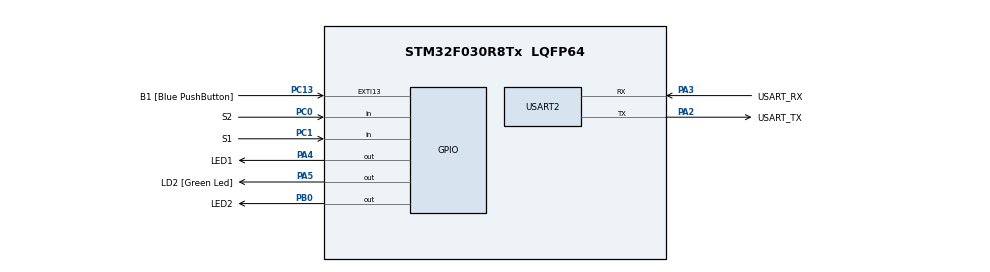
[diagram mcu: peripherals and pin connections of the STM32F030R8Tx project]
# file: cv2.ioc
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Mcu.Family=STM32F0
Mcu.Name=STM32F030R8Tx
Mcu.Package=LQFP64
PA13.GPIO_Label=TMS
PA13.Mode=Serial_Wire
PA13.Signal=SYS_SWDIO
PA14.GPIO_Label=TCK
PA14.Mode=Serial_Wire
PA14.Signal=SYS_SWCLK
PA2.GPIO_Label=USART_TX
PA2.GPIO_Mode=GPIO_MODE_AF_PP
PA2.GPIO_PuPd=GPIO_NOPULL
PA2.GPIO_Speed=GPIO_SPEED_FREQ_LOW
PA2.Mode=Asynchronous
PA2.Signal=USART2_TX
PA3.GPIO_Label=USART_RX
PA3.GPIO_Mode=GPIO_MODE_AF_PP
PA3.GPIO_PuPd=GPIO_NOPULL
PA3.GPIO_Speed=GPIO_SPEED_FREQ_LOW
PA3.Mode=Asynchronous
PA3.Signal=USART2_RX
PA4.GPIO_Label=LED1
PA4.Signal=GPIO_Output
PA5.GPIO_Label=LD2 [Green Led]
PA5.GPIO_Mode=GPIO_MODE_OUTPUT_PP
PA5.GPIO_PuPd=GPIO_NOPULL
PA5.GPIO_Speed=GPIO_SPEED_FREQ_LOW
PA5.Signal=GPIO_Output
PB0.GPIO_Label=LED2
PB0.Signal=GPIO_Output
PC0.GPIO_Label=S2
PC0.GPIO_PuPd=GPIO_PULLUP
PC0.Signal=GPIO_Input
PC1.GPIO_Label=S1
PC1.GPIO_PuPd=GPIO_PULLUP
PC1.Signal=GPIO_Input
PC13.GPIO_Label=B1 [Blue PushButton]
PC13.GPIO_ModeDefaultEXTI=GPIO_MODE_IT_FALLING
PC13.Signal=GPXTI13
PC14-OSC32_IN.Mode=LSE-External-Oscillator
PC14-OSC32_IN.Signal=RCC_OSC32_IN
PC15-OSC32_OUT.Mode=LSE-External-Oscillator
PC15-OSC32_OUT.Signal=RCC_OSC32_OUT
PF0-OSC_IN.Mode=HSE-External-Clock-Source
PF0-OSC_IN.Signal=RCC_OSC_IN
PF1-OSC_OUT.Signal=RCC_OSC_OUT
ProjectManager.HeapSize=0x200
ProjectManager.StackSize=0x400
ProjectManager.TargetToolchain=STM32CubeIDE
RCC.AHBFreq_Value=48000000
RCC.APB1Freq_Value=48000000
RCC.APB1TimFreq_Value=48000000
RCC.HCLKFreq_Value=48000000
RCC.PLLMUL=RCC_PLL_MUL12
RCC.SYSCLKFreq_VALUE=48000000
RCC.SYSCLKSource=RCC_SYSCLKSOURCE_PLLCLK
USART2.VirtualMode-Asynchronous=VM_ASYNC
board=NUCLEO-F030R8

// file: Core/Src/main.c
/* USER CODE BEGIN Header */
/**
  ******************************************************************************
  * @file           : main.c
  * @brief          : Main program body
  ******************************************************************************
  * @attention
  *
  * Copyright (c) 2025 STMicroelectronics.
  * All rights reserved.
  *
  * This software is licensed under terms that can be found in the LICENSE file
  * in the root directory of this software component.
  * If no LICENSE file comes with this software, it is provided AS-IS.
  *
  ******************************************************************************
  */
/* USER CODE END Header */
#include "main.h"

/* USER CODE BEGIN PD */
#define LED_TIME_BLINK  300
#define LED_TIME_SHORT 100
#define LED_TIME_LONG 1000
#define BUTTON_TIME 40
#define S1_SAMPLE_TIME 5
/* USER CODE END PD */

/* USER CODE BEGIN PV */
volatile uint32_t Tick;
static uint32_t off_time;

/* USER CODE END PV */

void SystemClock_Config(void);
static void MX_GPIO_Init(void);
static void MX_USART2_UART_Init(void);

/* USER CODE BEGIN 0 */
void blink(void)
{
	static uint32_t delay;

	if (Tick > delay + LED_TIME_BLINK) {
		LL_GPIO_TogglePin(LED1_GPIO_Port, LED1_Pin);
		delay = Tick;
	}
}

void button1(void) {
	static uint32_t last_button_tick;

	// Sampling button
	if (Tick > last_button_tick + BUTTON_TIME) {
		last_button_tick = Tick;

		// Enter every 40ms
		static uint32_t old_s1;
		uint32_t new_s1 = LL_GPIO_IsInputPinSet(S1_GPIO_Port, S1_Pin);

		if (old_s1 && !new_s1) { // falling edge
			off_time = Tick + LED_TIME_LONG;
			LL_GPIO_SetOutputPin(LED2_GPIO_Port, LED2_Pin);
		}
		old_s1 = new_s1;
	}

	// LED disable
	if (Tick > off_time) {
		LL_GPIO_ResetOutputPin(LED2_GPIO_Port, LED2_Pin);
	}
}

void button2(void) {
	static uint32_t last_button_tick;

	// Sampling button
	if (Tick > last_button_tick + BUTTON_TIME) {
		last_button_tick = Tick;

		// Enter every 40ms
		static uint32_t old_s2;
		uint32_t new_s2 = LL_GPIO_IsInputPinSet(S2_GPIO_Port, S2_Pin);

		if (old_s2 && !new_s2) { // falling edge
			off_time = Tick + LED_TIME_SHORT;
			LL_GPIO_SetOutputPin(LED2_GPIO_Port, LED2_Pin);
		}
		old_s2 = new_s2;
	}

	// LED disable
	if (Tick > off_time) {
		LL_GPIO_ResetOutputPin(LED2_GPIO_Port, LED2_Pin);

	}
}

void button2_reg(void) {
	static uint32_t last_button_tick;

	if (Tick > last_button_tick + S1_SAMPLE_TIME) {
		last_button_tick = Tick;
		static uint16_t debounce = 0xFFFF;

		uint32_t read_s1 = LL_GPIO_IsInputPinSet(S1_GPIO_Port, S1_Pin);

		debounce = debounce << 1;
		if (read_s1) debounce |= 0x0001;

		if (debounce == 0x8000) {
			off_time = Tick + LED_TIME_LONG;
			LL_GPIO_SetOutputPin(LED2_GPIO_Port, LED2_Pin);
		}

		if (Tick > off_time) {
			LL_GPIO_ResetOutputPin(LED2_GPIO_Port, LED2_Pin);
		}
	}

}

/* USER CODE END 0 */

int main(void)
{

  /* MCU Configuration--------------------------------------------------------*/

  /* Reset of all peripherals, Initializes the Flash interface and the Systick. */
  LL_APB1_GRP2_EnableClock(LL_APB1_GRP2_PERIPH_SYSCFG);
  LL_APB1_GRP1_EnableClock(LL_APB1_GRP1_PERIPH_PWR);

  /* Configure the system clock */
  SystemClock_Config();

  /* Initialize all configured peripherals */
  MX_GPIO_Init();
  MX_USART2_UART_Init();
  /* USER CODE BEGIN 2 */
  LL_SYSTICK_EnableIT();
  /* USER CODE END 2 */

  /* Infinite loop */
  while (1)
  {
	  blink();
	  button1();
	  button2();
	  button2_reg();
  }
}

void SystemClock_Config(void)
{
  LL_FLASH_SetLatency(LL_FLASH_LATENCY_1);
  while(LL_FLASH_GetLatency() != LL_FLASH_LATENCY_1)
  {
  }
  LL_RCC_HSI_Enable();

   /* Wait till HSI is ready */
  while(LL_RCC_HSI_IsReady() != 1)
  {

  }
  LL_RCC_HSI_SetCalibTrimming(16);
  LL_RCC_PLL_ConfigDomain_SYS(LL_RCC_PLLSOURCE_HSI_DIV_2, LL_RCC_PLL_MUL_12);
  LL_RCC_PLL_Enable();

   /* Wait till PLL is ready */
  while(LL_RCC_PLL_IsReady() != 1)
  {

  }
  LL_RCC_SetAHBPrescaler(LL_RCC_SYSCLK_DIV_1);
  LL_RCC_SetAPB1Prescaler(LL_RCC_APB1_DIV_1);
  LL_RCC_SetSysClkSource(LL_RCC_SYS_CLKSOURCE_PLL);

   /* Wait till System clock is ready */
  while(LL_RCC_GetSysClkSource() != LL_RCC_SYS_CLKSOURCE_STATUS_PLL)
  {

  }
  LL_Init1msTick(48000000);
  LL_SetSystemCoreClock(48000000);
}

static void MX_USART2_UART_Init(void)
{

  LL_USART_InitTypeDef USART_InitStruct = {0};

  LL_GPIO_InitTypeDef GPIO_InitStruct = {0};

  /* Peripheral clock enable */
  LL_APB1_GRP1_EnableClock(LL_APB1_GRP1_PERIPH_USART2);

  LL_AHB1_GRP1_EnableClock(LL_AHB1_GRP1_PERIPH_GPIOA);
  /**USART2 GPIO Configuration
  PA2   ------> USART2_TX
  PA3   ------> USART2_RX
  */
  GPIO_InitStruct.Pin = USART_TX_Pin;
  GPIO_InitStruct.Mode = LL_GPIO_MODE_ALTERNATE;
  GPIO_InitStruct.Speed = LL_GPIO_SPEED_FREQ_LOW;
  GPIO_InitStruct.OutputType = LL_GPIO_OUTPUT_PUSHPULL;
  GPIO_InitStruct.Pull = LL_GPIO_PULL_NO;
  GPIO_InitStruct.Alternate = LL_GPIO_AF_1;
  LL_GPIO_Init(USART_TX_GPIO_Port, &GPIO_InitStruct);

  GPIO_InitStruct.Pin = USART_RX_Pin;
  GPIO_InitStruct.Mode = LL_GPIO_MODE_ALTERNATE;
  GPIO_InitStruct.Speed = LL_GPIO_SPEED_FREQ_LOW;
  GPIO_InitStruct.OutputType = LL_GPIO_OUTPUT_PUSHPULL;
  GPIO_InitStruct.Pull = LL_GPIO_PULL_NO;
  GPIO_InitStruct.Alternate = LL_GPIO_AF_1;
  LL_GPIO_Init(USART_RX_GPIO_Port, &GPIO_InitStruct);

  USART_InitStruct.BaudRate = 38400;
  USART_InitStruct.DataWidth = LL_USART_DATAWIDTH_8B;
  USART_InitStruct.StopBits = LL_USART_STOPBITS_1;
  USART_InitStruct.Parity = LL_USART_PARITY_NONE;
  USART_InitStruct.TransferDirection = LL_USART_DIRECTION_TX_RX;
  USART_InitStruct.HardwareFlowControl = LL_USART_HWCONTROL_NONE;
  USART_InitStruct.OverSampling = LL_USART_OVERSAMPLING_16;
  LL_USART_Init(USART2, &USART_InitStruct);
  LL_USART_DisableIT_CTS(USART2);
  LL_USART_ConfigAsyncMode(USART2);
  LL_USART_Enable(USART2);

}

static void MX_GPIO_Init(void)
{
  LL_EXTI_InitTypeDef EXTI_InitStruct = {0};
  LL_GPIO_InitTypeDef GPIO_InitStruct = {0};

  /* GPIO Ports Clock Enable */
  LL_AHB1_GRP1_EnableClock(LL_AHB1_GRP1_PERIPH_GPIOC);
  LL_AHB1_GRP1_EnableClock(LL_AHB1_GRP1_PERIPH_GPIOF);
  LL_AHB1_GRP1_EnableClock(LL_AHB1_GRP1_PERIPH_GPIOA);
  LL_AHB1_GRP1_EnableClock(LL_AHB1_GRP1_PERIPH_GPIOB);

  /**/
  LL_GPIO_ResetOutputPin(LED1_GPIO_Port, LED1_Pin);

  /**/
  LL_GPIO_ResetOutputPin(LD2_GPIO_Port, LD2_Pin);

  /**/
  LL_GPIO_ResetOutputPin(LED2_GPIO_Port, LED2_Pin);

  /**/
  LL_SYSCFG_SetEXTISource(LL_SYSCFG_EXTI_PORTC, LL_SYSCFG_EXTI_LINE13);

  /**/
  LL_GPIO_SetPinPull(B1_GPIO_Port, B1_Pin, LL_GPIO_PULL_NO);

  /**/
  LL_GPIO_SetPinMode(B1_GPIO_Port, B1_Pin, LL_GPIO_MODE_INPUT);

  /**/
  EXTI_InitStruct.Line_0_31 = LL_EXTI_LINE_13;
  EXTI_InitStruct.LineCommand = ENABLE;
  EXTI_InitStruct.Mode = LL_EXTI_MODE_IT;
  EXTI_InitStruct.Trigger = LL_EXTI_TRIGGER_FALLING;
  LL_EXTI_Init(&EXTI_InitStruct);

  /**/
  GPIO_InitStruct.Pin = S2_Pin;
  GPIO_InitStruct.Mode = LL_GPIO_MODE_INPUT;
  GPIO_InitStruct.Pull = LL_GPIO_PULL_UP;
  LL_GPIO_Init(S2_GPIO_Port, &GPIO_InitStruct);

  /**/
  GPIO_InitStruct.Pin = S1_Pin;
  GPIO_InitStruct.Mode = LL_GPIO_MODE_INPUT;
  GPIO_InitStruct.Pull = LL_GPIO_PULL_UP;
  LL_GPIO_Init(S1_GPIO_Port, &GPIO_InitStruct);

  /**/
  GPIO_InitStruct.Pin = LED1_Pin;
  GPIO_InitStruct.Mode = LL_GPIO_MODE_OUTPUT;
  GPIO_InitStruct.Speed = LL_GPIO_SPEED_FREQ_LOW;
  GPIO_InitStruct.OutputType = LL_GPIO_OUTPUT_PUSHPULL;
  GPIO_InitStruct.Pull = LL_GPIO_PULL_NO;
  LL_GPIO_Init(LED1_GPIO_Port, &GPIO_InitStruct);

  /**/
  GPIO_InitStruct.Pin = LD2_Pin;
  GPIO_InitStruct.Mode = LL_GPIO_MODE_OUTPUT;
  GPIO_InitStruct.Speed = LL_GPIO_SPEED_FREQ_LOW;
  GPIO_InitStruct.OutputType = LL_GPIO_OUTPUT_PUSHPULL;
  GPIO_InitStruct.Pull = LL_GPIO_PULL_NO;
  LL_GPIO_Init(LD2_GPIO_Port, &GPIO_InitStruct);

  /**/
  GPIO_InitStruct.Pin = LED2_Pin;
  GPIO_InitStruct.Mode = LL_GPIO_MODE_OUTPUT;
  GPIO_InitStruct.Speed = LL_GPIO_SPEED_FREQ_LOW;
  GPIO_InitStruct.OutputType = LL_GPIO_OUTPUT_PUSHPULL;
  GPIO_InitStruct.Pull = LL_GPIO_PULL_NO;
  LL_GPIO_Init(LED2_GPIO_Port, &GPIO_InitStruct);

}

void Error_Handler(void)
{
  __disable_irq();
  while (1)
  {
  }
}
